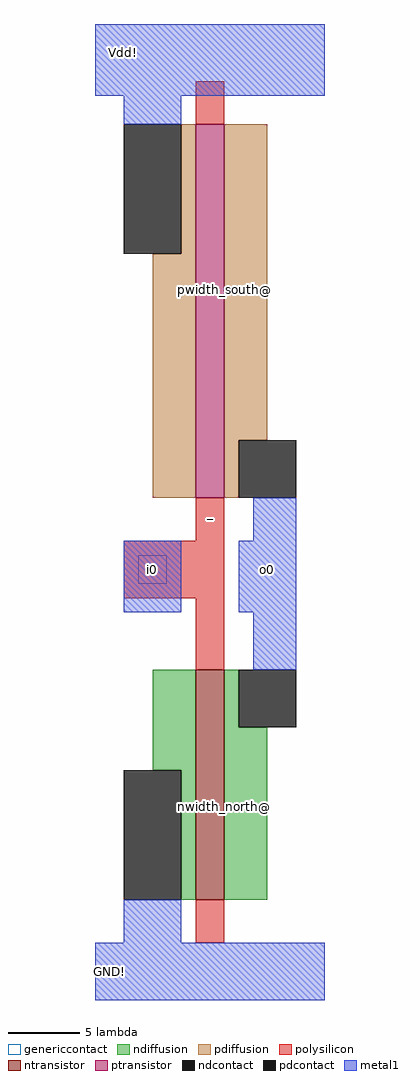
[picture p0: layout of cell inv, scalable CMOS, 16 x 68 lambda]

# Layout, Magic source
magic
tech scmos
<< ntransistor >>
rect 5 4 7 20
<< ptransistor >>
rect 5 32 7 58
<< ndiffusion >>
rect 2 13 5 20
rect 4 4 5 13
rect 7 16 8 20
rect 7 4 10 16
<< pdiffusion >>
rect 4 49 5 58
rect 2 32 5 49
rect 7 36 10 58
rect 7 32 8 36
<< ndcontact >>
rect 0 4 4 13
rect 8 16 12 20
<< pdcontact >>
rect 0 49 4 58
rect 8 32 12 36
<< polysilicon >>
rect 5 58 7 61
rect 5 29 7 32
rect 0 25 7 29
rect 5 20 7 25
rect 5 1 7 4
<< genericcontact >>
rect 1 26 3 28
<< metal1 >>
rect -2 60 14 65
rect 0 58 4 60
rect 9 29 12 32
rect 0 24 4 29
rect 8 24 12 29
rect 9 20 12 24
rect 0 1 4 4
rect -2 -3 14 1
<< labels >>
rlabel metal1 -1 -1 -1 -1 2 GND!
rlabel metal1 0 63 0 63 4 Vdd!
rlabel metal1 2 27 2 27 1 i0
rlabel metal1 10 27 10 27 1 o0
rlabel space -2 -5 14 67 1 _
rlabel pdiffusion 4 35 10 58 1 pwidth_south@
rlabel ndiffusion 4 4 10 17 1 nwidth_north@
<< end >>
